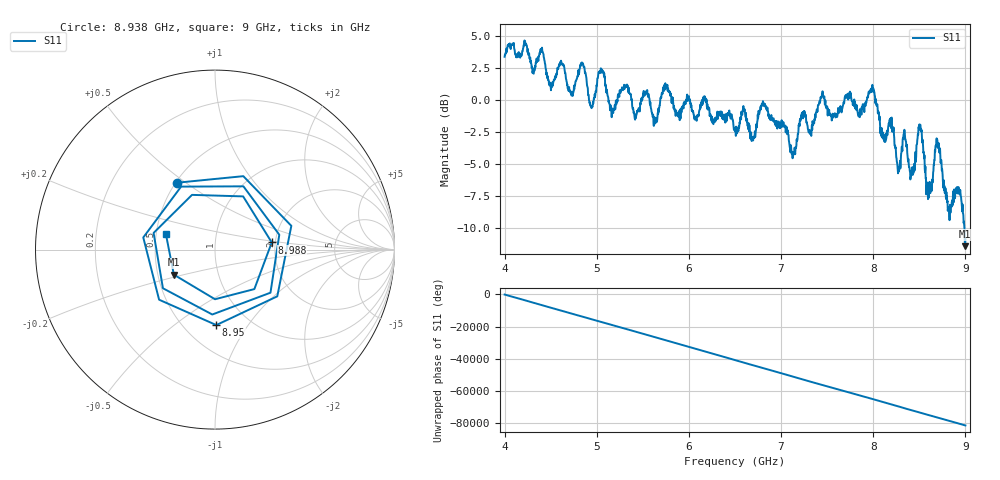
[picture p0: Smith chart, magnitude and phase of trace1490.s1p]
! Created with skrf 1.8.0 (http://scikit-rf.org).
# Hz S RI R 50.0
!freq ReS11 ImS11
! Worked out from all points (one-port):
!   1601 points, 4 GHz to 9 GHz, reference 50 ohm
!   lowest |S11| = -11.4 dB at 8.997 GHz (marker M1), VSWR 1.73, Z = 30.3 - j9.11 ohm
!   |S11| at or under -10 dB: 8.988912 GHz to end of sweep
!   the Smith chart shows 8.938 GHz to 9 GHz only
!   S11 on the Smith chart (normalised r, x): 8.938 GHz: 0.51, +0.47; 8.95 GHz: 0.71, -0.72; 8.988 GHz: 1.91, +0.17; 9 GHz: 0.56, +0.10
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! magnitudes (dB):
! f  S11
! 4 GHz  3.4
! 4.625 GHz  2.8
! 4.725 GHz  0.4
! 4.844 GHz  2.9
! 4.941 GHz  -0.6
! 5.044 GHz  2.5
! 5.162 GHz  -1.3
! 5.25 GHz  0.8
! 5.875 GHz  -1.2
! 6.5 GHz  -2.4
! 6.697 GHz  -3.1
! 6.809 GHz  -0.4
! 7.125 GHz  -4.5
! 7.238 GHz  -1.4
! 7.75 GHz  0.4
! 7.994 GHz  0.9
! 8.272 GHz  -5.4
! 8.375 GHz  -4.6
! 8.428 GHz  -5.8
! 8.509 GHz  -1.9
! 8.6 GHz  -7.7
! 8.7 GHz  -3.7
! 8.812 GHz  -8.4
! 8.938 GHz  -7.4
! 8.95 GHz  -7.5
! 8.988 GHz  -9.9
! 8.997 GHz  -11.4
! 9 GHz  -10.9
